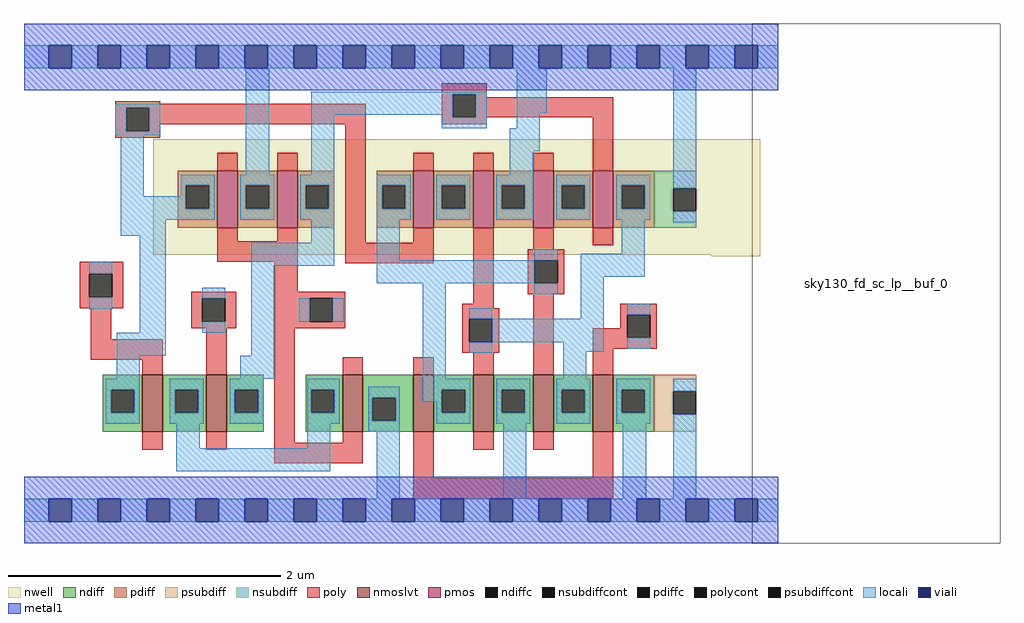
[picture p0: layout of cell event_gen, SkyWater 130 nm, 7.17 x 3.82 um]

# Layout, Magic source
magic
tech sky130A
magscale 1 2
<< nwell >>
rect 984 416 1056 588
use sky130_fd_sc_lp__buf_0  sky130_fd_sc_lp__buf_0_0 ~/sky130A/libs.ref/sky130_fd_sc_lp/mag
transform 1 0 1082 0 1 43
box -38 -49 326 715
use comp_42_15_single_tail  comp_42_15_single_tail_0
transform 1 0 546 0 1 424
box -572 -430 536 334
<< end >>

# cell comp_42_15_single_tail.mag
magic
tech sky130A
<< nwell >>
rect -191 -3 226 82
<< pmos >>
rect -144 17 -129 59
rect -100 17 -85 59
rect 0 17 15 59
rect 44 17 59 59
rect 88 17 103 59
rect 132 17 147 59
<< nmoslvt >>
rect -199 -133 -184 -91
rect -152 -133 -137 -91
rect -52 -133 -37 -91
rect 0 -133 15 -91
rect 44 -133 59 -91
rect 88 -133 103 -91
rect 132 -133 147 -91
<< ndiff >>
rect -228 -102 -199 -91
rect -228 -119 -222 -102
rect -205 -119 -199 -102
rect -228 -133 -199 -119
rect -184 -102 -152 -91
rect -184 -119 -175 -102
rect -158 -119 -152 -102
rect -184 -133 -152 -119
rect -137 -102 -110 -91
rect -137 -119 -131 -102
rect -114 -119 -110 -102
rect -137 -133 -110 -119
rect -79 -102 -52 -91
rect -79 -119 -75 -102
rect -58 -119 -52 -102
rect -79 -133 -52 -119
rect -37 -108 0 -91
rect -37 -125 -30 -108
rect -13 -125 0 -108
rect -37 -133 0 -125
rect 15 -102 44 -91
rect 15 -119 21 -102
rect 38 -119 44 -102
rect 15 -133 44 -119
rect 59 -102 88 -91
rect 59 -119 65 -102
rect 82 -119 88 -102
rect 59 -133 88 -119
rect 103 -102 132 -91
rect 103 -119 109 -102
rect 126 -119 132 -102
rect 103 -133 132 -119
rect 147 -102 177 -91
rect 147 -119 153 -102
rect 170 -119 177 -102
rect 147 -133 177 -119
<< pdiff >>
rect -173 48 -144 59
rect -173 31 -167 48
rect -150 31 -144 48
rect -173 17 -144 31
rect -129 48 -100 59
rect -129 31 -123 48
rect -106 31 -100 48
rect -129 17 -100 31
rect -85 48 -58 59
rect -85 31 -79 48
rect -62 31 -58 48
rect -85 17 -58 31
rect -27 48 0 59
rect -27 31 -23 48
rect -6 31 0 48
rect -27 17 0 31
rect 15 48 44 59
rect 15 31 21 48
rect 38 31 44 48
rect 15 17 44 31
rect 59 48 88 59
rect 59 31 65 48
rect 82 31 88 48
rect 59 17 88 31
rect 103 48 132 59
rect 103 31 109 48
rect 126 31 132 48
rect 103 17 132 31
rect 147 48 177 59
rect 147 31 153 48
rect 170 31 177 48
rect 147 17 177 31
<< ndiffc >>
rect -222 -119 -205 -102
rect -175 -119 -158 -102
rect -131 -119 -114 -102
rect -75 -119 -58 -102
rect -30 -125 -13 -108
rect 21 -119 38 -102
rect 65 -119 82 -102
rect 109 -119 126 -102
rect 153 -119 170 -102
<< pdiffc >>
rect -167 31 -150 48
rect -123 31 -106 48
rect -79 31 -62 48
rect -23 31 -6 48
rect 21 31 38 48
rect 65 31 82 48
rect 109 31 126 48
rect 153 31 170 48
<< psubdiff >>
rect 177 -103 208 -91
rect 177 -120 191 -103
rect 177 -133 208 -120
<< nsubdiff >>
rect 177 46 208 59
rect 177 29 191 46
rect 177 17 208 29
<< psubdiffcont >>
rect 191 -120 208 -103
<< nsubdiffcont >>
rect 191 29 208 46
<< poly >>
rect 21 115 54 123
rect -219 108 -186 110
rect -219 105 -35 108
rect -219 88 -211 105
rect -194 93 -35 105
rect 21 98 29 115
rect 46 113 54 115
rect 46 98 147 113
rect 21 93 54 98
rect -194 88 -186 93
rect -219 83 -186 88
rect -144 59 -129 72
rect -100 59 -85 72
rect -144 7 -129 17
rect -100 7 -85 17
rect -144 -8 -85 7
rect -245 -17 -213 -8
rect -245 -34 -238 -17
rect -221 -34 -213 -17
rect -102 -30 -85 -8
rect -50 6 -35 93
rect 0 59 15 72
rect 44 59 59 72
rect 88 59 103 72
rect 132 59 147 98
rect 0 6 15 17
rect -50 -9 15 6
rect -245 -42 -213 -34
rect -163 -35 -130 -30
rect -237 -65 -222 -42
rect -163 -52 -155 -35
rect -138 -52 -130 -35
rect -163 -57 -130 -52
rect -102 -35 -50 -30
rect -102 -52 -76 -35
rect -59 -52 -50 -35
rect 44 -39 59 17
rect 88 1 103 17
rect 132 4 147 17
rect 84 -7 111 1
rect 84 -24 89 -7
rect 106 -24 111 -7
rect 84 -32 111 -24
rect -102 -57 -50 -52
rect 36 -42 59 -39
rect 36 -50 63 -42
rect -237 -80 -184 -65
rect -199 -91 -184 -80
rect -152 -91 -137 -57
rect -199 -146 -184 -133
rect -152 -146 -137 -133
rect -102 -141 -87 -57
rect 36 -67 41 -50
rect 58 -67 63 -50
rect 36 -75 63 -67
rect -52 -91 -37 -78
rect 0 -91 15 -78
rect 44 -91 59 -75
rect 88 -91 103 -32
rect 152 -47 179 -39
rect 152 -57 157 -47
rect 132 -64 157 -57
rect 174 -64 179 -47
rect 132 -72 179 -64
rect 132 -91 147 -72
rect -52 -141 -37 -133
rect -102 -156 -37 -141
rect 0 -167 15 -133
rect 44 -146 59 -133
rect 88 -146 103 -133
rect 132 -167 147 -133
rect 0 -182 147 -167
<< polycont >>
rect -211 88 -194 105
rect 29 98 46 115
rect -238 -34 -221 -17
rect -155 -52 -138 -35
rect -76 -52 -59 -35
rect 89 -24 106 -7
rect 41 -67 58 -50
rect 157 -64 174 -47
<< locali >>
rect -286 134 -268 151
rect -251 134 -232 151
rect -215 134 -196 151
rect -179 134 -160 151
rect -143 134 -124 151
rect -107 134 -88 151
rect -71 134 -52 151
rect -35 134 -16 151
rect 1 134 20 151
rect 37 134 56 151
rect 73 134 92 151
rect 109 134 128 151
rect 145 134 164 151
rect 181 134 200 151
rect 217 134 236 151
rect 253 134 268 151
rect -219 105 -186 108
rect -219 88 -211 105
rect -194 88 -186 105
rect -219 85 -186 88
rect -215 40 -198 85
rect -123 56 -106 134
rect -75 115 54 117
rect -75 100 29 115
rect -75 56 -58 100
rect 21 98 29 100
rect 46 98 54 115
rect 21 90 54 98
rect 76 101 98 134
rect 76 90 93 101
rect 71 73 93 90
rect 71 56 88 73
rect -171 48 -146 56
rect -171 40 -167 48
rect -215 31 -167 40
rect -150 31 -146 48
rect -215 23 -146 31
rect -127 48 -102 56
rect -127 31 -123 48
rect -106 31 -102 48
rect -127 23 -102 31
rect -83 48 -58 56
rect -83 31 -79 48
rect -62 31 -58 48
rect -83 23 -58 31
rect -215 11 -182 23
rect -238 -17 -221 -8
rect -238 -43 -221 -34
rect -201 -60 -182 11
rect -75 6 -58 23
rect -119 -11 -58 6
rect -27 48 -2 56
rect -27 31 -23 48
rect -6 31 -2 48
rect -27 23 -2 31
rect 17 48 42 56
rect 17 31 21 48
rect 38 31 42 48
rect 17 23 42 31
rect 61 48 88 56
rect 61 31 65 48
rect 82 31 88 48
rect 61 23 88 31
rect 105 48 130 56
rect 105 31 109 48
rect 126 31 130 48
rect 105 23 130 31
rect 149 48 174 56
rect 149 31 153 48
rect 170 31 174 48
rect 149 23 174 31
rect 191 46 208 134
rect -27 -7 -10 23
rect 89 -7 106 1
rect 153 -2 170 23
rect 191 21 208 29
rect -155 -35 -138 -27
rect -155 -60 -138 -52
rect -218 -77 -182 -60
rect -119 -77 -102 -11
rect -27 -24 89 -7
rect -84 -52 -76 -35
rect -59 -52 -51 -35
rect -218 -94 -201 -77
rect -127 -94 -102 -77
rect 7 -94 24 -24
rect 89 -32 106 -24
rect 123 -19 170 -2
rect 41 -50 58 -42
rect 123 -50 140 -19
rect 58 -67 140 -50
rect 41 -75 58 -67
rect 110 -74 140 -67
rect 157 -47 174 -39
rect 157 -72 174 -64
rect 110 -94 127 -74
rect -226 -102 -201 -94
rect -226 -119 -222 -102
rect -205 -119 -201 -102
rect -226 -127 -201 -119
rect -179 -102 -154 -94
rect -179 -119 -175 -102
rect -158 -119 -154 -102
rect -179 -127 -154 -119
rect -135 -102 -110 -94
rect -135 -119 -131 -102
rect -114 -119 -110 -102
rect -135 -127 -110 -119
rect -78 -102 -54 -94
rect -78 -119 -75 -102
rect -58 -119 -54 -102
rect -78 -127 -54 -119
rect -33 -108 -10 -100
rect -33 -125 -30 -108
rect -13 -125 -10 -108
rect 7 -102 42 -94
rect 7 -111 21 -102
rect -174 -145 -157 -127
rect -78 -145 -61 -127
rect -33 -133 -10 -125
rect 17 -119 21 -111
rect 38 -119 42 -102
rect 17 -127 42 -119
rect 61 -102 86 -94
rect 61 -119 65 -102
rect 82 -119 86 -102
rect 61 -127 86 -119
rect 105 -102 130 -94
rect 105 -119 109 -102
rect 126 -119 130 -102
rect 105 -127 130 -119
rect 149 -102 174 -94
rect 149 -119 153 -102
rect 170 -119 174 -102
rect 149 -127 174 -119
rect 191 -103 208 -94
rect -174 -162 -61 -145
rect -27 -182 -10 -133
rect 66 -182 83 -127
rect 154 -182 171 -127
rect 191 -182 208 -120
rect -286 -199 -268 -182
rect -251 -199 -232 -182
rect -215 -199 -196 -182
rect -179 -199 -160 -182
rect -143 -199 -124 -182
rect -107 -199 -88 -182
rect -71 -199 -52 -182
rect -35 -199 -16 -182
rect 1 -199 20 -182
rect 37 -199 56 -182
rect 73 -199 92 -182
rect 109 -199 128 -182
rect 145 -199 164 -182
rect 181 -199 200 -182
rect 217 -199 236 -182
rect 253 -199 268 -182
<< viali >>
rect -268 134 -251 151
rect -232 134 -215 151
rect -196 134 -179 151
rect -160 134 -143 151
rect -124 134 -107 151
rect -88 134 -71 151
rect -52 134 -35 151
rect -16 134 1 151
rect 20 134 37 151
rect 56 134 73 151
rect 92 134 109 151
rect 128 134 145 151
rect 164 134 181 151
rect 200 134 217 151
rect 236 134 253 151
rect -268 -199 -251 -182
rect -232 -199 -215 -182
rect -196 -199 -179 -182
rect -160 -199 -143 -182
rect -124 -199 -107 -182
rect -88 -199 -71 -182
rect -52 -199 -35 -182
rect -16 -199 1 -182
rect 20 -199 37 -182
rect 56 -199 73 -182
rect 92 -199 109 -182
rect 128 -199 145 -182
rect 164 -199 181 -182
rect 200 -199 217 -182
rect 236 -199 253 -182
<< metal1 >>
rect -286 151 268 167
rect -286 134 -268 151
rect -251 134 -232 151
rect -215 134 -196 151
rect -179 134 -160 151
rect -143 134 -124 151
rect -107 134 -88 151
rect -71 134 -52 151
rect -35 134 -16 151
rect 1 134 20 151
rect 37 134 56 151
rect 73 134 92 151
rect 109 134 128 151
rect 145 134 164 151
rect 181 134 200 151
rect 217 134 236 151
rect 253 134 268 151
rect -286 118 268 134
rect -286 -182 268 -166
rect -286 -199 -268 -182
rect -251 -199 -232 -182
rect -215 -199 -196 -182
rect -179 -199 -160 -182
rect -143 -199 -124 -182
rect -107 -199 -88 -182
rect -71 -199 -52 -182
rect -35 -199 -16 -182
rect 1 -199 20 -182
rect 37 -199 56 -182
rect 73 -199 92 -182
rect 109 -199 128 -182
rect 145 -199 164 -182
rect 181 -199 200 -182
rect 217 -199 236 -182
rect 253 -199 268 -182
rect -286 -215 268 -199
<< labels >>
rlabel locali -102 -51 -102 -51 3 FN
rlabel locali -198 -54 -198 -54 3 FP
rlabel locali -104 -145 -104 -145 1 tail
rlabel locali 268 -189 268 -189 3 GND
rlabel locali 268 142 268 142 3 VDD
rlabel locali -147 -27 -147 -27 1 inm
rlabel locali 165 -39 165 -39 1 phi1b
rlabel locali 30 -94 30 -94 1 high
rlabel locali 118 -94 118 -94 1 low
rlabel locali 30 56 30 56 1 pfetw
rlabel locali 118 56 118 56 1 pfete
rlabel locali -229 -8 -229 -8 1 inp
rlabel locali -51 -44 -51 -44 3 phi1
flabel polycont -76 -52 -59 -35 0 FreeSans 56 0 0 0 phi1
flabel polycont -155 -52 -138 -35 0 FreeSans 56 0 0 0 inm
flabel polycont -238 -34 -221 -17 0 FreeSans 56 0 0 0 inp
flabel polycont 157 -64 174 -47 0 FreeSans 56 0 0 0 phi1b
flabel polycont 41 -67 58 -50 0 FreeSans 56 0 0 0 low
flabel polycont 89 -24 106 -7 0 FreeSans 56 0 0 0 high
<< end >>
